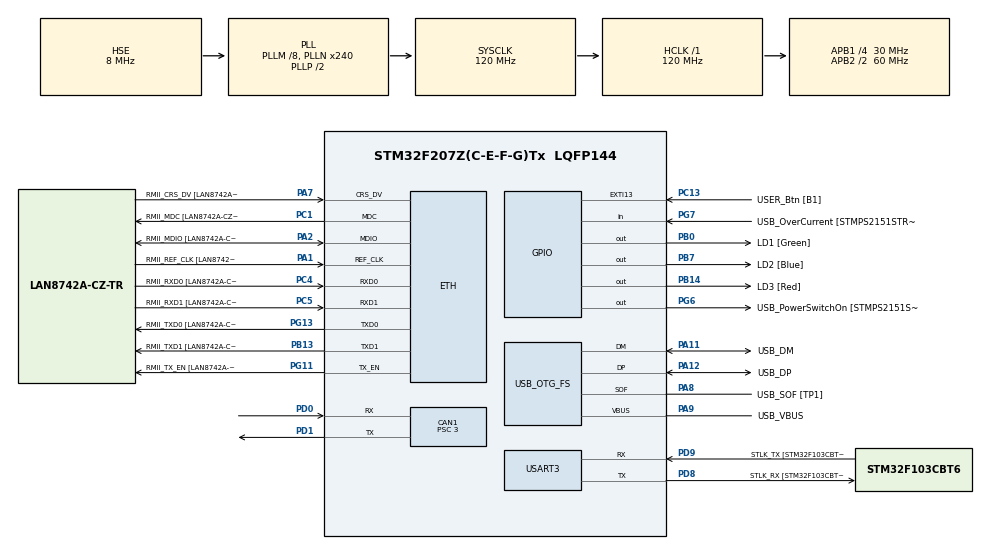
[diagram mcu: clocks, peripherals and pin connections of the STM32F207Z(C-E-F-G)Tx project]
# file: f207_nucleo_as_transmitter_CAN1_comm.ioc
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CAN1.ABOM=ENABLE
CAN1.BS1=CAN_BS1_16TQ
CAN1.BS2=CAN_BS2_3TQ
CAN1.CalculateBaudRate=500000
CAN1.CalculateTimeBit=2000
CAN1.CalculateTimeQuantum=100.0
CAN1.NART=ENABLE
CAN1.Prescaler=3
ETH.MediaInterface=ETH_MEDIA_INTERFACE_RMII
ETH.PHY_Name=LAN8742A_PHY_ADDRESS
ETH.PHY_Value=0
ETH.PhyAddress=0
Mcu.Family=STM32F2
Mcu.Name=STM32F207Z(C-E-F-G)Tx
Mcu.Package=LQFP144
NVIC.CAN1_TX_IRQn=true\:0\:0\:false\:false\:true\:true\:true\:true
NVIC.PriorityGroup=NVIC_PRIORITYGROUP_4
PA1.GPIO_Label=RMII_REF_CLK [LAN8742A-CZ-TR_REFCLK0]
PA1.Mode=RMII
PA1.Signal=ETH_REF_CLK
PA10.GPIO_Label=USB_ID
PA10.Signal=USB_OTG_FS_ID
PA11.GPIO_Label=USB_DM
PA11.Mode=Device_Only
PA11.Signal=USB_OTG_FS_DM
PA12.GPIO_Label=USB_DP
PA12.Mode=Device_Only
PA12.Signal=USB_OTG_FS_DP
PA13.GPIO_Label=TMS
PA13.Mode=Serial_Wire
PA13.Signal=SYS_JTMS-SWDIO
PA14.GPIO_Label=TCK
PA14.Mode=Serial_Wire
PA14.Signal=SYS_JTCK-SWCLK
PA2.GPIO_Label=RMII_MDIO [LAN8742A-CZ-TR_MDIO]
PA2.Mode=RMII
PA2.Signal=ETH_MDIO
PA7.GPIO_Label=RMII_CRS_DV [LAN8742A-CZ-TR_CRS_DV]
PA7.Mode=RMII
PA7.Signal=ETH_CRS_DV
PA8.GPIO_Label=USB_SOF [TP1]
PA8.Mode=Activate_SOF_FS
PA8.Signal=USB_OTG_FS_SOF
PA9.GPIO_Label=USB_VBUS
PA9.Mode=Activate_VBUS
PA9.Signal=USB_OTG_FS_VBUS
PB0.GPIO_Label=LD1 [Green]
PB0.Signal=GPIO_Output
PB13.GPIO_Label=RMII_TXD1 [LAN8742A-CZ-TR_TXD1]
PB13.Mode=RMII
PB13.Signal=ETH_TXD1
PB14.GPIO_Label=LD3 [Red]
PB14.Signal=GPIO_Output
PB3.GPIO_Label=SWO
PB3.Signal=SYS_JTDO-SWO
PB7.GPIO_Label=LD2 [Blue]
PB7.Signal=GPIO_Output
PC1.GPIO_Label=RMII_MDC [LAN8742A-CZ-TR_MDC]
PC1.Mode=RMII
PC1.Signal=ETH_MDC
PC13.GPIO_Label=USER_Btn [B1]
PC13.Signal=GPXTI13
PC14-OSC32_IN.Mode=LSE-External-Oscillator
PC14-OSC32_IN.Signal=RCC_OSC32_IN
PC15-OSC32_OUT.Mode=LSE-External-Oscillator
PC15-OSC32_OUT.Signal=RCC_OSC32_OUT
PC4.GPIO_Label=RMII_RXD0 [LAN8742A-CZ-TR_RXD0]
PC4.Mode=RMII
PC4.Signal=ETH_RXD0
PC5.GPIO_Label=RMII_RXD1 [LAN8742A-CZ-TR_RXD1]
PC5.Mode=RMII
PC5.Signal=ETH_RXD1
PD0.Mode=CAN_Activate
PD0.Signal=CAN1_RX
PD1.Mode=CAN_Activate
PD1.Signal=CAN1_TX
PD8.GPIO_Label=STLK_RX [STM32F103CBT6_PA2]
PD8.Mode=Asynchronous
PD8.Signal=USART3_TX
PD9.GPIO_Label=STLK_TX [STM32F103CBT6_PA3]
PD9.Mode=Asynchronous
PD9.Signal=USART3_RX
PG11.GPIO_Label=RMII_TX_EN [LAN8742A-CZ-TR_TXEN]
PG11.Mode=RMII
PG11.Signal=ETH_TX_EN
PG13.GPIO_Label=RMII_TXD0 [LAN8742A-CZ-TR_TXD0]
PG13.Mode=RMII
PG13.Signal=ETH_TXD0
PG6.GPIO_Label=USB_PowerSwitchOn [STMPS2151STR_EN]
PG6.Signal=GPIO_Output
PG7.GPIO_Label=USB_OverCurrent [STMPS2151STR_FAULT]
PG7.Signal=GPIO_Input
PH0-OSC_IN.GPIO_Label=MCO [STM32F103CBT6_PA8]
PH0-OSC_IN.Mode=HSE-External-Clock-Source
PH0-OSC_IN.Signal=RCC_OSC_IN
PH1-OSC_OUT.Mode=HSE-External-Clock-Source
PH1-OSC_OUT.Signal=RCC_OSC_OUT
ProjectManager.HeapSize=0x200
ProjectManager.StackSize=0x400
ProjectManager.TargetToolchain=STM32CubeIDE
RCC.48MHZClocksFreq_Value=48000000
RCC.AHBFreq_Value=120000000
RCC.APB1CLKDivider=RCC_HCLK_DIV4
RCC.APB1Freq_Value=30000000
RCC.APB1TimFreq_Value=60000000
RCC.APB2CLKDivider=RCC_HCLK_DIV2
RCC.APB2Freq_Value=60000000
RCC.APB2TimFreq_Value=120000000
RCC.CortexFreq_Value=120000000
RCC.HCLKFreq_Value=120000000
RCC.HSE_VALUE=8000000
RCC.HSI_VALUE=16000000
RCC.PLLM=8
RCC.PLLMUL=RCC_PLL_MUL9
RCC.PLLN=240
RCC.PLLQ=5
RCC.PLLSourceVirtual=RCC_PLLSOURCE_HSE
RCC.PRESCALERUSB=RCC_USBCLKSOURCE_PLL_DIV1_5
RCC.SYSCLKFreq_VALUE=120000000
RCC.SYSCLKSource=RCC_SYSCLKSOURCE_PLLCLK
RCC.SYSCLKSourceVirtual=RCC_SYSCLKSOURCE_PLLCLK
RCC.USBFreq_Value=48000000
RCC.VCOOutputFreq_Value=240000000
USART3.VirtualMode=VM_ASYNC
USB_OTG_FS.VirtualMode=Device_Only
board=NUCLEO-F207ZG

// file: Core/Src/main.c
/* USER CODE BEGIN Header */
/**
  ******************************************************************************
  * @file           : main.c
  * @brief          : Main program body
  ******************************************************************************
  * @attention
  *
  * Copyright (c) 2026 STMicroelectronics.
  * All rights reserved.
  *
  * This software is licensed under terms that can be found in the LICENSE file
  * in the root directory of this software component.
  * If no LICENSE file comes with this software, it is provided AS-IS.
  *
  ******************************************************************************
  */
/* USER CODE END Header */
#include "main.h"

CAN_HandleTypeDef hcan1;

ETH_HandleTypeDef heth;

UART_HandleTypeDef huart3;

PCD_HandleTypeDef hpcd_USB_OTG_FS;

void SystemClock_Config(void);
static void MX_GPIO_Init(void);
static void MX_ETH_Init(void);
static void MX_USART3_UART_Init(void);
static void MX_USB_OTG_FS_PCD_Init(void);
static void MX_CAN1_Init(void);

int main(void)
{

  /* MCU Configuration--------------------------------------------------------*/

  /* Reset of all peripherals, Initializes the Flash interface and the Systick. */
  HAL_Init();

  /* Configure the system clock */
  SystemClock_Config();

  /* Initialize all configured peripherals */
  MX_GPIO_Init();
  //MX_ETH_Init();
  MX_USART3_UART_Init();
  MX_USB_OTG_FS_PCD_Init();
  MX_CAN1_Init();
  /* USER CODE BEGIN 2 */
  CAN_TxHeaderTypeDef TxHeader;
  uint32_t TxMailbox;
  uint8_t TxData[8] = {1,2,3,4,5,6,7,8};
  //uint8_t TxData[8] = "progienc";

  /* Start CAN */
  HAL_CAN_Start(&hcan1);

  /* Enable TX interrupt */
  HAL_CAN_ActivateNotification(&hcan1, CAN_IT_TX_MAILBOX_EMPTY);

  /* Configure TX Header */
  TxHeader.StdId = 0x123;
  TxHeader.ExtId = 0x00;
  TxHeader.IDE = CAN_ID_STD;
  TxHeader.RTR = CAN_RTR_DATA;
  TxHeader.DLC = 8;
  TxHeader.TransmitGlobalTime = DISABLE;
  /* USER CODE END 2 */

  /* Infinite loop */
  while (1)
  {

    /* USER CODE BEGIN 3 */
	  HAL_CAN_AddTxMessage(&hcan1, &TxHeader, TxData, &TxMailbox);
	  HAL_Delay(1000);
  }
  /* USER CODE END 3 */
}

void SystemClock_Config(void)
{
  RCC_OscInitTypeDef RCC_OscInitStruct = {0};
  RCC_ClkInitTypeDef RCC_ClkInitStruct = {0};

  /** Initializes the RCC Oscillators according to the specified parameters
  * in the RCC_OscInitTypeDef structure.
  */
  RCC_OscInitStruct.OscillatorType = RCC_OSCILLATORTYPE_HSE;
  RCC_OscInitStruct.HSEState = RCC_HSE_BYPASS;
  RCC_OscInitStruct.PLL.PLLState = RCC_PLL_ON;
  RCC_OscInitStruct.PLL.PLLSource = RCC_PLLSOURCE_HSE;
  RCC_OscInitStruct.PLL.PLLM = 8;
  RCC_OscInitStruct.PLL.PLLN = 240;
  RCC_OscInitStruct.PLL.PLLP = RCC_PLLP_DIV2;
  RCC_OscInitStruct.PLL.PLLQ = 5;
  if (HAL_RCC_OscConfig(&RCC_OscInitStruct) != HAL_OK)
  {
    Error_Handler();
  }

  /** Initializes the CPU, AHB and APB buses clocks
  */
  RCC_ClkInitStruct.ClockType = RCC_CLOCKTYPE_HCLK|RCC_CLOCKTYPE_SYSCLK
                              |RCC_CLOCKTYPE_PCLK1|RCC_CLOCKTYPE_PCLK2;
  RCC_ClkInitStruct.SYSCLKSource = RCC_SYSCLKSOURCE_PLLCLK;
  RCC_ClkInitStruct.AHBCLKDivider = RCC_SYSCLK_DIV1;
  RCC_ClkInitStruct.APB1CLKDivider = RCC_HCLK_DIV4;
  RCC_ClkInitStruct.APB2CLKDivider = RCC_HCLK_DIV2;

  if (HAL_RCC_ClockConfig(&RCC_ClkInitStruct, FLASH_LATENCY_3) != HAL_OK)
  {
    Error_Handler();
  }
}

static void MX_CAN1_Init(void)
{

  hcan1.Instance = CAN1;
  hcan1.Init.Prescaler = 3;
  hcan1.Init.Mode = CAN_MODE_NORMAL;
  hcan1.Init.SyncJumpWidth = CAN_SJW_1TQ;
  hcan1.Init.TimeSeg1 = CAN_BS1_16TQ;
  hcan1.Init.TimeSeg2 = CAN_BS2_3TQ;
  hcan1.Init.TimeTriggeredMode = DISABLE;
  hcan1.Init.AutoBusOff = ENABLE;
  hcan1.Init.AutoWakeUp = DISABLE;
  hcan1.Init.AutoRetransmission = ENABLE;
  hcan1.Init.ReceiveFifoLocked = DISABLE;
  hcan1.Init.TransmitFifoPriority = DISABLE;
  if (HAL_CAN_Init(&hcan1) != HAL_OK)
  {
    Error_Handler();
  }

}

static void MX_ETH_Init(void)
{

   static uint8_t MACAddr[6];

  heth.Instance = ETH;
  heth.Init.AutoNegotiation = ETH_AUTONEGOTIATION_ENABLE;
  heth.Init.Speed = ETH_SPEED_100M;
  heth.Init.DuplexMode = ETH_MODE_FULLDUPLEX;
  heth.Init.PhyAddress = LAN8742A_PHY_ADDRESS;
  MACAddr[0] = 0x00;
  MACAddr[1] = 0x80;
  MACAddr[2] = 0xE1;
  MACAddr[3] = 0x00;
  MACAddr[4] = 0x00;
  MACAddr[5] = 0x00;
  heth.Init.MACAddr = &MACAddr[0];
  heth.Init.RxMode = ETH_RXPOLLING_MODE;
  heth.Init.ChecksumMode = ETH_CHECKSUM_BY_HARDWARE;
  heth.Init.MediaInterface = ETH_MEDIA_INTERFACE_RMII;

  if (HAL_ETH_Init(&heth) != HAL_OK)
  {
    Error_Handler();
  }

}

static void MX_USART3_UART_Init(void)
{

  huart3.Instance = USART3;
  huart3.Init.BaudRate = 115200;
  huart3.Init.WordLength = UART_WORDLENGTH_8B;
  huart3.Init.StopBits = UART_STOPBITS_1;
  huart3.Init.Parity = UART_PARITY_NONE;
  huart3.Init.Mode = UART_MODE_TX_RX;
  huart3.Init.HwFlowCtl = UART_HWCONTROL_NONE;
  huart3.Init.OverSampling = UART_OVERSAMPLING_16;
  if (HAL_UART_Init(&huart3) != HAL_OK)
  {
    Error_Handler();
  }

}

static void MX_USB_OTG_FS_PCD_Init(void)
{

  hpcd_USB_OTG_FS.Instance = USB_OTG_FS;
  hpcd_USB_OTG_FS.Init.dev_endpoints = 4;
  hpcd_USB_OTG_FS.Init.speed = PCD_SPEED_FULL;
  hpcd_USB_OTG_FS.Init.dma_enable = DISABLE;
  hpcd_USB_OTG_FS.Init.phy_itface = PCD_PHY_EMBEDDED;
  hpcd_USB_OTG_FS.Init.Sof_enable = ENABLE;
  hpcd_USB_OTG_FS.Init.low_power_enable = DISABLE;
  hpcd_USB_OTG_FS.Init.vbus_sensing_enable = ENABLE;
  hpcd_USB_OTG_FS.Init.use_dedicated_ep1 = DISABLE;
  if (HAL_PCD_Init(&hpcd_USB_OTG_FS) != HAL_OK)
  {
    Error_Handler();
  }

}

static void MX_GPIO_Init(void)
{
  GPIO_InitTypeDef GPIO_InitStruct = {0};

  /* GPIO Ports Clock Enable */
  __HAL_RCC_GPIOC_CLK_ENABLE();
  __HAL_RCC_GPIOH_CLK_ENABLE();
  __HAL_RCC_GPIOA_CLK_ENABLE();
  __HAL_RCC_GPIOB_CLK_ENABLE();
  __HAL_RCC_GPIOD_CLK_ENABLE();
  __HAL_RCC_GPIOG_CLK_ENABLE();

  /*Configure GPIO pin Output Level */
  HAL_GPIO_WritePin(GPIOB, LD1_Pin|LD3_Pin|LD2_Pin, GPIO_PIN_RESET);

  /*Configure GPIO pin Output Level */
  HAL_GPIO_WritePin(USB_PowerSwitchOn_GPIO_Port, USB_PowerSwitchOn_Pin, GPIO_PIN_RESET);

  /*Configure GPIO pin : USER_Btn_Pin */
  GPIO_InitStruct.Pin = USER_Btn_Pin;
  GPIO_InitStruct.Mode = GPIO_MODE_IT_RISING;
  GPIO_InitStruct.Pull = GPIO_NOPULL;
  HAL_GPIO_Init(USER_Btn_GPIO_Port, &GPIO_InitStruct);

  /*Configure GPIO pins : LD1_Pin LD3_Pin LD2_Pin */
  GPIO_InitStruct.Pin = LD1_Pin|LD3_Pin|LD2_Pin;
  GPIO_InitStruct.Mode = GPIO_MODE_OUTPUT_PP;
  GPIO_InitStruct.Pull = GPIO_NOPULL;
  GPIO_InitStruct.Speed = GPIO_SPEED_FREQ_LOW;
  HAL_GPIO_Init(GPIOB, &GPIO_InitStruct);

  /*Configure GPIO pin : USB_PowerSwitchOn_Pin */
  GPIO_InitStruct.Pin = USB_PowerSwitchOn_Pin;
  GPIO_InitStruct.Mode = GPIO_MODE_OUTPUT_PP;
  GPIO_InitStruct.Pull = GPIO_NOPULL;
  GPIO_InitStruct.Speed = GPIO_SPEED_FREQ_LOW;
  HAL_GPIO_Init(USB_PowerSwitchOn_GPIO_Port, &GPIO_InitStruct);

  /*Configure GPIO pin : USB_OverCurrent_Pin */
  GPIO_InitStruct.Pin = USB_OverCurrent_Pin;
  GPIO_InitStruct.Mode = GPIO_MODE_INPUT;
  GPIO_InitStruct.Pull = GPIO_NOPULL;
  HAL_GPIO_Init(USB_OverCurrent_GPIO_Port, &GPIO_InitStruct);

}

/* USER CODE BEGIN 4 */

void HAL_CAN_TxMailbox0CompleteCallback(CAN_HandleTypeDef *hcan)
{
    HAL_GPIO_TogglePin(GPIOB, LD1_Pin);  // Toggle LED when TX complete
}
/* USER CODE END 4 */

void Error_Handler(void)
{
  __disable_irq();
  while (1)
  {
  }
}
